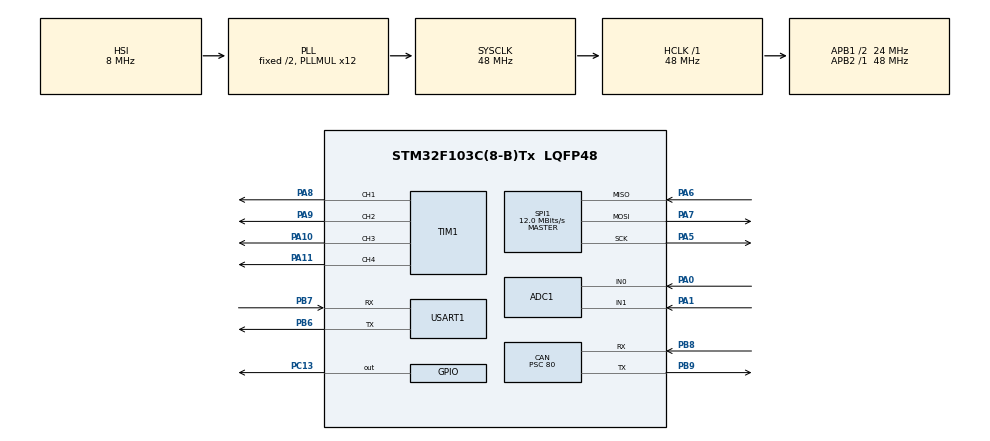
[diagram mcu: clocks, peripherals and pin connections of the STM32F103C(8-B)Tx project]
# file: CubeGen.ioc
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ADC1.Channel-0\#ChannelRegularConversion=ADC_CHANNEL_0
ADC1.NbrOfConversionFlag=1
ADC1.Rank-0\#ChannelRegularConversion=1
ADC1.SamplingTime-0\#ChannelRegularConversion=ADC_SAMPLETIME_1CYCLE_5
ADC1.master=1
CAN.BS1=CAN_BS1_8TQ
CAN.CalculateTimeBit=33333
CAN.CalculateTimeQuantum=3333.333333333333
CAN.Mode=CAN_MODE_LOOPBACK
CAN.Prescaler=80
Mcu.Family=STM32F1
Mcu.Name=STM32F103C(8-B)Tx
Mcu.Package=LQFP48
NVIC.PriorityGroup=NVIC_PRIORITYGROUP_4
PA0-WKUP.Signal=ADCx_IN0
PA1.Signal=ADCx_IN1
PA10.Signal=S_TIM1_CH3
PA11.Signal=S_TIM1_CH4
PA13.Mode=JTAG_4_pins
PA13.Signal=SYS_JTMS-SWDIO
PA14.Mode=JTAG_4_pins
PA14.Signal=SYS_JTCK-SWCLK
PA15.Mode=JTAG_4_pins
PA15.Signal=SYS_JTDI
PA5.Mode=Full_Duplex_Master
PA5.Signal=SPI1_SCK
PA6.Mode=Full_Duplex_Master
PA6.Signal=SPI1_MISO
PA7.Mode=Full_Duplex_Master
PA7.Signal=SPI1_MOSI
PA8.Signal=S_TIM1_CH1
PA9.Signal=S_TIM1_CH2
PB3.Mode=JTAG_4_pins
PB3.Signal=SYS_JTDO-TRACESWO
PB6.Mode=Asynchronous
PB6.Signal=USART1_TX
PB7.Mode=Asynchronous
PB7.Signal=USART1_RX
PB8.Mode=Master
PB8.Signal=CAN_RX
PB9.Mode=Master
PB9.Signal=CAN_TX
PC13-TAMPER-RTC.Signal=GPIO_Output
ProjectManager.HeapSize=0x200
ProjectManager.StackSize=0x400
ProjectManager.TargetToolchain=SW4STM32
RCC.ADCPresc=RCC_ADCPCLK2_DIV4
RCC.AHBFreq_Value=48000000
RCC.APB1CLKDivider=RCC_HCLK_DIV2
RCC.APB1Freq_Value=24000000
RCC.APB1TimFreq_Value=48000000
RCC.APB2Freq_Value=48000000
RCC.APB2TimFreq_Value=48000000
RCC.HCLKFreq_Value=48000000
RCC.PLLMUL=RCC_PLL_MUL12
RCC.SYSCLKFreq_VALUE=48000000
RCC.SYSCLKSource=RCC_SYSCLKSOURCE_PLLCLK
RCC.USBFreq_Value=48000000
SH.ADCx_IN0.0=ADC1_IN0,IN0
SH.ADCx_IN1.0=ADC1_IN1,IN1
SH.S_TIM1_CH1.0=TIM1_CH1,Output Compare1 CH1
SH.S_TIM1_CH2.0=TIM1_CH2,Output Compare2 CH2
SH.S_TIM1_CH3.0=TIM1_CH3,Output Compare3 CH3
SH.S_TIM1_CH4.0=TIM1_CH4,Output Compare4 CH4
SPI1.BaudRatePrescaler=SPI_BAUDRATEPRESCALER_4
SPI1.CalculateBaudRate=12.0 MBits/s
SPI1.Direction=SPI_DIRECTION_2LINES
SPI1.Mode=SPI_MODE_MASTER
SPI1.VirtualType=VM_MASTER
TIM1.Channel-Output\ Compare1\ CH1=TIM_CHANNEL_1
TIM1.Channel-Output\ Compare2\ CH2=TIM_CHANNEL_2
TIM1.Channel-Output\ Compare3\ CH3=TIM_CHANNEL_3
TIM1.Channel-Output\ Compare4\ CH4=TIM_CHANNEL_4
USART1.VirtualMode=VM_ASYNC
board=custom

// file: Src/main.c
/* USER CODE BEGIN Header */
/**
  ******************************************************************************
  * @file           : main.c
  * @brief          : Main program body
  ******************************************************************************
  * @attention
  *
  * <h2><center>&copy; Copyright (c) 2019 STMicroelectronics.
  * All rights reserved.</center></h2>
  *
  * This software component is licensed by ST under BSD 3-Clause license,
  * the "License"; You may not use this file except in compliance with the
  * License. You may obtain a copy of the License at:
  *                        opensource.org/licenses/BSD-3-Clause
  *
  ******************************************************************************
  */
/* USER CODE END Header */

#include "main.h"

ADC_HandleTypeDef hadc1;

CAN_HandleTypeDef hcan;

SPI_HandleTypeDef hspi1;

TIM_HandleTypeDef htim1;

UART_HandleTypeDef huart1;

/* USER CODE BEGIN PV */

int __io_putchar(int ch)
{
	uint8_t c[1];
 	 c[0] = ch & 0x00FF;
 	 HAL_UART_Transmit(&huart1, &*c, 1, 10);
 	 return ch;
}

int _write(int file,char *ptr, int len)
{
 int DataIdx;
 for(DataIdx= 0; DataIdx< len; DataIdx++)
 {
 __io_putchar(*ptr++);
 }
return len;
}

/* USER CODE END PV */

void SystemClock_Config(void);
static void MX_GPIO_Init(void);
static void MX_ADC1_Init(void);
static void MX_CAN_Init(void);
static void MX_SPI1_Init(void);
static void MX_TIM1_Init(void);
static void MX_USART1_UART_Init(void);

/* USER CODE BEGIN 0 */

CAN_TxHeaderTypeDef   TxHeader;
CAN_RxHeaderTypeDef   RxHeader;
uint8_t               TxData[8];
uint8_t               RxData[8];
uint32_t              TxMailbox;

uint8_t datatest[8] = {0x00,0x01,0x02,0x03,0x04,0x05,0x06,0x07};

uint8_t CAN_Transmit(uint32_t addr, uint32_t data_size, uint8_t * tab_data)
{
//    if(data_size > 8 || sizeof(tab_data) / sizeof(tab_data[0]) <= data_size)
//	return 0;

    TxHeader.StdId = addr;
    TxHeader.DLC = data_size;

    for(int i = 0; i < data_size; i++)
    {
    	TxData[i] = tab_data[i];
    }
    HAL_CAN_AddTxMessage(&hcan, &TxHeader, TxData, &TxMailbox);
    return 1;
}

void CAN_Config (void)
{
  CAN_FilterTypeDef sFilterConfig;

  sFilterConfig.FilterBank = 0;
  sFilterConfig.FilterMode = CAN_FILTERMODE_IDMASK;
  sFilterConfig.FilterScale = CAN_FILTERSCALE_32BIT;
  sFilterConfig.FilterIdHigh = 0;
  sFilterConfig.FilterIdLow = 0;
  sFilterConfig.FilterMaskIdHigh = 0;
  sFilterConfig.FilterMaskIdLow = 0;
  sFilterConfig.FilterFIFOAssignment = CAN_RX_FIFO0;
  sFilterConfig.FilterActivation = ENABLE;
  sFilterConfig.SlaveStartFilterBank = 14;

  HAL_CAN_ConfigFilter(&hcan, &sFilterConfig);

  HAL_CAN_Start (& hcan);

//  HAL_CAN_ActivateNotification (& hcan, CAN_IT_RX_FIFO0_MSG_PENDING);

  TxHeader.StdId = 0x320;
  TxHeader.ExtId = 0x01;
  TxHeader.RTR = CAN_RTR_DATA;
  TxHeader.IDE = CAN_ID_STD;
  TxHeader.DLC = 8;
//  TxHeader.TransmitGlobalTime = DISABLE;
}

void HAL_CAN_RxFifo0MsgPendingCallback (CAN_HandleTypeDef * hcan)
{
	HAL_CAN_GetRxMessage (hcan, CAN_RX_FIFO0, & RxHeader, RxData);
}
/* USER CODE END 0 */

int main(void)
{

  /* MCU Configuration--------------------------------------------------------*/

  /* Reset of all peripherals, Initializes the Flash interface and the Systick. */
  HAL_Init();

  /* USER CODE BEGIN Init */
  uint8_t datatest[20] = "hello";
  /* USER CODE END Init */

  /* Configure the system clock */
  SystemClock_Config();

  /* Initialize all configured peripherals */
  MX_GPIO_Init();
  MX_ADC1_Init();
  MX_CAN_Init();
  MX_SPI1_Init();
  MX_TIM1_Init();
  MX_USART1_UART_Init();
  /* USER CODE BEGIN 2 */

  CAN_Config();
  /* USER CODE END 2 */

  /* Infinite loop */
  /* USER CODE BEGIN WHILE */
  while (1)
  {
	  CAN_Transmit(0x0f,8,datatest);
//	  printf("%d, adc value = %lu\r\n",0,0);
//	  HAL_UART_Transmit(&huart1,datatest, 20, 10);
	  HAL_GPIO_TogglePin(GPIOC,GPIO_PIN_13);
	  HAL_Delay(100);
    /* USER CODE END WHILE */

  }
}

void SystemClock_Config(void)
{
  RCC_OscInitTypeDef RCC_OscInitStruct = {0};
  RCC_ClkInitTypeDef RCC_ClkInitStruct = {0};
  RCC_PeriphCLKInitTypeDef PeriphClkInit = {0};

  /** Initializes the CPU, AHB and APB busses clocks
  */
  RCC_OscInitStruct.OscillatorType = RCC_OSCILLATORTYPE_HSI;
  RCC_OscInitStruct.HSIState = RCC_HSI_ON;
  RCC_OscInitStruct.HSICalibrationValue = RCC_HSICALIBRATION_DEFAULT;
  RCC_OscInitStruct.PLL.PLLState = RCC_PLL_ON;
  RCC_OscInitStruct.PLL.PLLSource = RCC_PLLSOURCE_HSI_DIV2;
  RCC_OscInitStruct.PLL.PLLMUL = RCC_PLL_MUL12;
  if (HAL_RCC_OscConfig(&RCC_OscInitStruct) != HAL_OK)
  {
    Error_Handler();
  }
  /** Initializes the CPU, AHB and APB busses clocks
  */
  RCC_ClkInitStruct.ClockType = RCC_CLOCKTYPE_HCLK|RCC_CLOCKTYPE_SYSCLK
                              |RCC_CLOCKTYPE_PCLK1|RCC_CLOCKTYPE_PCLK2;
  RCC_ClkInitStruct.SYSCLKSource = RCC_SYSCLKSOURCE_PLLCLK;
  RCC_ClkInitStruct.AHBCLKDivider = RCC_SYSCLK_DIV1;
  RCC_ClkInitStruct.APB1CLKDivider = RCC_HCLK_DIV2;
  RCC_ClkInitStruct.APB2CLKDivider = RCC_HCLK_DIV1;

  if (HAL_RCC_ClockConfig(&RCC_ClkInitStruct, FLASH_LATENCY_1) != HAL_OK)
  {
    Error_Handler();
  }
  PeriphClkInit.PeriphClockSelection = RCC_PERIPHCLK_ADC;
  PeriphClkInit.AdcClockSelection = RCC_ADCPCLK2_DIV4;
  if (HAL_RCCEx_PeriphCLKConfig(&PeriphClkInit) != HAL_OK)
  {
    Error_Handler();
  }
}

static void MX_ADC1_Init(void)
{

  ADC_ChannelConfTypeDef sConfig = {0};

  /** Common config
  */
  hadc1.Instance = ADC1;
  hadc1.Init.ScanConvMode = ADC_SCAN_DISABLE;
  hadc1.Init.ContinuousConvMode = DISABLE;
  hadc1.Init.DiscontinuousConvMode = DISABLE;
  hadc1.Init.ExternalTrigConv = ADC_SOFTWARE_START;
  hadc1.Init.DataAlign = ADC_DATAALIGN_RIGHT;
  hadc1.Init.NbrOfConversion = 1;
  if (HAL_ADC_Init(&hadc1) != HAL_OK)
  {
    Error_Handler();
  }
  /** Configure Regular Channel
  */
  sConfig.Channel = ADC_CHANNEL_0;
  sConfig.Rank = ADC_REGULAR_RANK_1;
  sConfig.SamplingTime = ADC_SAMPLETIME_1CYCLE_5;
  if (HAL_ADC_ConfigChannel(&hadc1, &sConfig) != HAL_OK)
  {
    Error_Handler();
  }

}

static void MX_CAN_Init(void)
{

  hcan.Instance = CAN1;
  hcan.Init.Prescaler = 81;
  hcan.Init.Mode = CAN_MODE_LOOPBACK;
  hcan.Init.SyncJumpWidth = CAN_SJW_1TQ;
  hcan.Init.TimeSeg1 = CAN_BS1_7TQ;
  hcan.Init.TimeSeg2 = CAN_BS2_1TQ;
  hcan.Init.TimeTriggeredMode = DISABLE;
  hcan.Init.AutoBusOff = DISABLE;
  hcan.Init.AutoWakeUp = DISABLE;
  hcan.Init.AutoRetransmission = DISABLE;
  hcan.Init.ReceiveFifoLocked = DISABLE;
  hcan.Init.TransmitFifoPriority = DISABLE;
  if (HAL_CAN_Init(&hcan) != HAL_OK)
  {
    Error_Handler();
  }

}

static void MX_SPI1_Init(void)
{

  /* SPI1 parameter configuration*/
  hspi1.Instance = SPI1;
  hspi1.Init.Mode = SPI_MODE_MASTER;
  hspi1.Init.Direction = SPI_DIRECTION_2LINES;
  hspi1.Init.DataSize = SPI_DATASIZE_8BIT;
  hspi1.Init.CLKPolarity = SPI_POLARITY_LOW;
  hspi1.Init.CLKPhase = SPI_PHASE_1EDGE;
  hspi1.Init.NSS = SPI_NSS_SOFT;
  hspi1.Init.BaudRatePrescaler = SPI_BAUDRATEPRESCALER_4;
  hspi1.Init.FirstBit = SPI_FIRSTBIT_MSB;
  hspi1.Init.TIMode = SPI_TIMODE_DISABLE;
  hspi1.Init.CRCCalculation = SPI_CRCCALCULATION_DISABLE;
  hspi1.Init.CRCPolynomial = 10;
  if (HAL_SPI_Init(&hspi1) != HAL_OK)
  {
    Error_Handler();
  }

}

static void MX_TIM1_Init(void)
{

  TIM_MasterConfigTypeDef sMasterConfig = {0};
  TIM_OC_InitTypeDef sConfigOC = {0};
  TIM_BreakDeadTimeConfigTypeDef sBreakDeadTimeConfig = {0};

  htim1.Instance = TIM1;
  htim1.Init.Prescaler = 0;
  htim1.Init.CounterMode = TIM_COUNTERMODE_UP;
  htim1.Init.Period = 0;
  htim1.Init.ClockDivision = TIM_CLOCKDIVISION_DIV1;
  htim1.Init.RepetitionCounter = 0;
  htim1.Init.AutoReloadPreload = TIM_AUTORELOAD_PRELOAD_DISABLE;
  if (HAL_TIM_OC_Init(&htim1) != HAL_OK)
  {
    Error_Handler();
  }
  sMasterConfig.MasterOutputTrigger = TIM_TRGO_RESET;
  sMasterConfig.MasterSlaveMode = TIM_MASTERSLAVEMODE_DISABLE;
  if (HAL_TIMEx_MasterConfigSynchronization(&htim1, &sMasterConfig) != HAL_OK)
  {
    Error_Handler();
  }
  sConfigOC.OCMode = TIM_OCMODE_TIMING;
  sConfigOC.Pulse = 0;
  sConfigOC.OCPolarity = TIM_OCPOLARITY_HIGH;
  sConfigOC.OCNPolarity = TIM_OCNPOLARITY_HIGH;
  sConfigOC.OCFastMode = TIM_OCFAST_DISABLE;
  sConfigOC.OCIdleState = TIM_OCIDLESTATE_RESET;
  sConfigOC.OCNIdleState = TIM_OCNIDLESTATE_RESET;
  if (HAL_TIM_OC_ConfigChannel(&htim1, &sConfigOC, TIM_CHANNEL_1) != HAL_OK)
  {
    Error_Handler();
  }
  if (HAL_TIM_OC_ConfigChannel(&htim1, &sConfigOC, TIM_CHANNEL_2) != HAL_OK)
  {
    Error_Handler();
  }
  if (HAL_TIM_OC_ConfigChannel(&htim1, &sConfigOC, TIM_CHANNEL_3) != HAL_OK)
  {
    Error_Handler();
  }
  if (HAL_TIM_OC_ConfigChannel(&htim1, &sConfigOC, TIM_CHANNEL_4) != HAL_OK)
  {
    Error_Handler();
  }
  sBreakDeadTimeConfig.OffStateRunMode = TIM_OSSR_DISABLE;
  sBreakDeadTimeConfig.OffStateIDLEMode = TIM_OSSI_DISABLE;
  sBreakDeadTimeConfig.LockLevel = TIM_LOCKLEVEL_OFF;
  sBreakDeadTimeConfig.DeadTime = 0;
  sBreakDeadTimeConfig.BreakState = TIM_BREAK_DISABLE;
  sBreakDeadTimeConfig.BreakPolarity = TIM_BREAKPOLARITY_HIGH;
  sBreakDeadTimeConfig.AutomaticOutput = TIM_AUTOMATICOUTPUT_DISABLE;
  if (HAL_TIMEx_ConfigBreakDeadTime(&htim1, &sBreakDeadTimeConfig) != HAL_OK)
  {
    Error_Handler();
  }
  HAL_TIM_MspPostInit(&htim1);

}

static void MX_USART1_UART_Init(void)
{

  huart1.Instance = USART1;
  huart1.Init.BaudRate = 115200;
  huart1.Init.WordLength = UART_WORDLENGTH_8B;
  huart1.Init.StopBits = UART_STOPBITS_1;
  huart1.Init.Parity = UART_PARITY_NONE;
  huart1.Init.Mode = UART_MODE_TX_RX;
  huart1.Init.HwFlowCtl = UART_HWCONTROL_NONE;
  huart1.Init.OverSampling = UART_OVERSAMPLING_16;
  if (HAL_UART_Init(&huart1) != HAL_OK)
  {
    Error_Handler();
  }

}

static void MX_GPIO_Init(void)
{
  GPIO_InitTypeDef GPIO_InitStruct = {0};

  /* GPIO Ports Clock Enable */
  __HAL_RCC_GPIOC_CLK_ENABLE();
  __HAL_RCC_GPIOA_CLK_ENABLE();
  __HAL_RCC_GPIOB_CLK_ENABLE();

  /*Configure GPIO pin Output Level */
  HAL_GPIO_WritePin(GPIOC, GPIO_PIN_13, GPIO_PIN_RESET);

  /*Configure GPIO pin : PC13 */
  GPIO_InitStruct.Pin = GPIO_PIN_13;
  GPIO_InitStruct.Mode = GPIO_MODE_OUTPUT_PP;
  GPIO_InitStruct.Pull = GPIO_NOPULL;
  GPIO_InitStruct.Speed = GPIO_SPEED_FREQ_LOW;
  HAL_GPIO_Init(GPIOC, &GPIO_InitStruct);

}

void Error_Handler(void)
{
}

/************************ (C) COPYRIGHT STMicroelectronics *****END OF FILE****/
